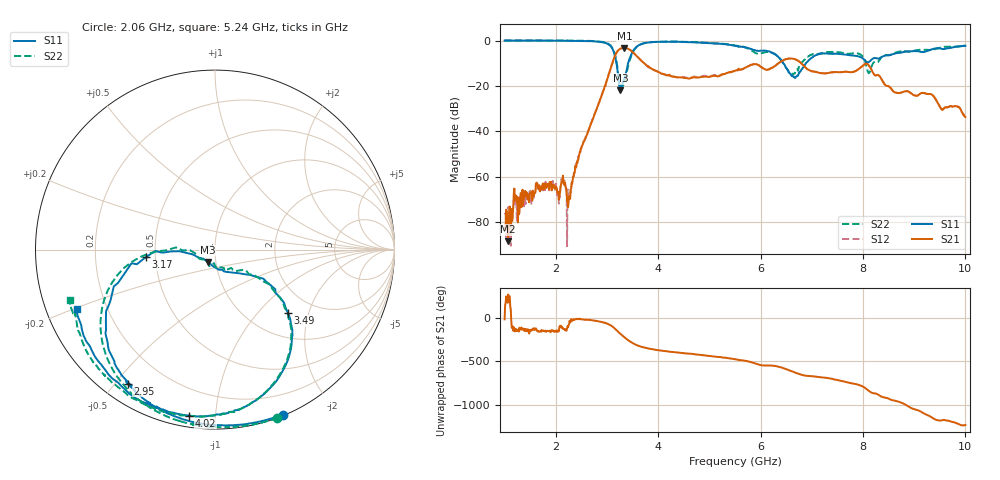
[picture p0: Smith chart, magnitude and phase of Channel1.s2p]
!Agilent Technologies,N5227A,US51270477,A.10.00.00
!File generated by LCAF-GAM-UPV software
!josevmart@iteam.upv.es
!S2P File: Measurements: S11, S21, S12, S22:
# Hz S  dB  R 50
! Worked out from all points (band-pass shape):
!   901 points, 1 GHz to 10 GHz, reference 50 ohm
!   highest |S21| = -3.23 dB at 3.34 GHz (marker M1); lowest = -88.3 dB at 1.07 GHz (marker M2)
!   |S21| within 3 dB of the highest: 3.166 GHz to 3.553 GHz (387.2 MHz wide, 11.5 % of centre)
!   lowest |S11| = -21.9 dB at 3.26 GHz (marker M3), VSWR 1.18, Z = 45.6 - j6.36 ohm
!   |S11| at or under -10 dB: 3.184 GHz to 3.411 GHz (227 MHz wide, 6.88 % of centre); 6.442 GHz to 6.883 GHz (441.6 MHz wide, 6.63 % of centre)
!   |S22| runs from -22.4 to 0.0 dB; largest |S21 - S12| = 0.04
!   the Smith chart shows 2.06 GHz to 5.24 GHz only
!   S11 on the Smith chart (normalised r, x): 2.06 GHz: 0.01, -1.49; 2.95 GHz: 0.07, -0.54; 3.17 GHz: 0.44, -0.04; 3.49 GHz: 1.49, -1.48; 4.02 GHz: 0.06, -0.86; 5.24 GHz: 0.09, -0.20
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1e9  -0.01 -32.4  -82.36 -14.7  -75.77 175.1  0.01 -33.1
1.07e9  -0.00 -34.6  -88.30 -88.8  -73.23 -126.6  0.01 -35.2
1.62e9  -0.02 -53.2  -62.60 -130.7  -63.65 -123.3  0.02 -53.6
2.06e9  -0.05 -67.6  -70.01 -153.6  -71.73 -137.0  0.00 -69.8
2.14e9  -0.08 -72.3  -59.43 -125.2  -60.51 -122.4  -0.01 -73.2
2.26e9  -0.10 -76.9  -68.40 -70.8  -69.58 -57.7  -0.04 -79.1
2.5e9  -0.17 -87.1  -47.27 -14.1  -47.16 -14.4  -0.09 -89.2
2.95e9  -0.99 -123.1  -20.49 -54.8  -20.77 -53.0  -0.80 -123.5
3.17e9  -8.22 -173.8  -6.01 -130.9  -6.11 -128.2  -7.52 -174.2
3.26e9  -21.87 -120.8  -3.64 178.4  -3.61 178.9  -21.44 -137.9
3.34e9  -16.45 -56.9  -3.23 139.1  -3.22 140.2  -17.75 -65.5
3.49e9  -5.38 -41.0  -4.84 75.9  -4.75 77.2  -5.92 -39.8
4e9  -0.58 -97.5  -13.80 -10.7  -13.86 -10.2  -0.56 -98.7
4.02e9  -0.57 -98.8  -13.94 -12.0  -14.04 -11.8  -0.54 -100.0
5.24e9  -1.53 -156.8  -14.88 -92.5  -15.04 -92.5  -1.38 -160.9
5.5e9  -2.35 -170.1  -13.31 -114.2  -13.34 -113.9  -2.16 -175.2
6.65e9  -16.01 153.8  -8.07 98.3  -8.12 99.5  -14.58 169.1
7e9  -7.53 174.7  -13.53 50.4  -13.52 51.7  -6.11 162.7
7.57e9  -5.99 101.2  -13.90 -3.0  -13.92 -3.4  -5.29 95.8
8.07e9  -9.37 47.6  -10.18 -98.6  -10.28 -100.1  -11.48 17.9
8.5e9  -6.47 23.9  -20.13 151.8  -20.15 151.0  -6.53 29.0
1e10  -2.35 -70.0  -33.65 -151.9  -33.68 -151.3  -2.27 -81.1
